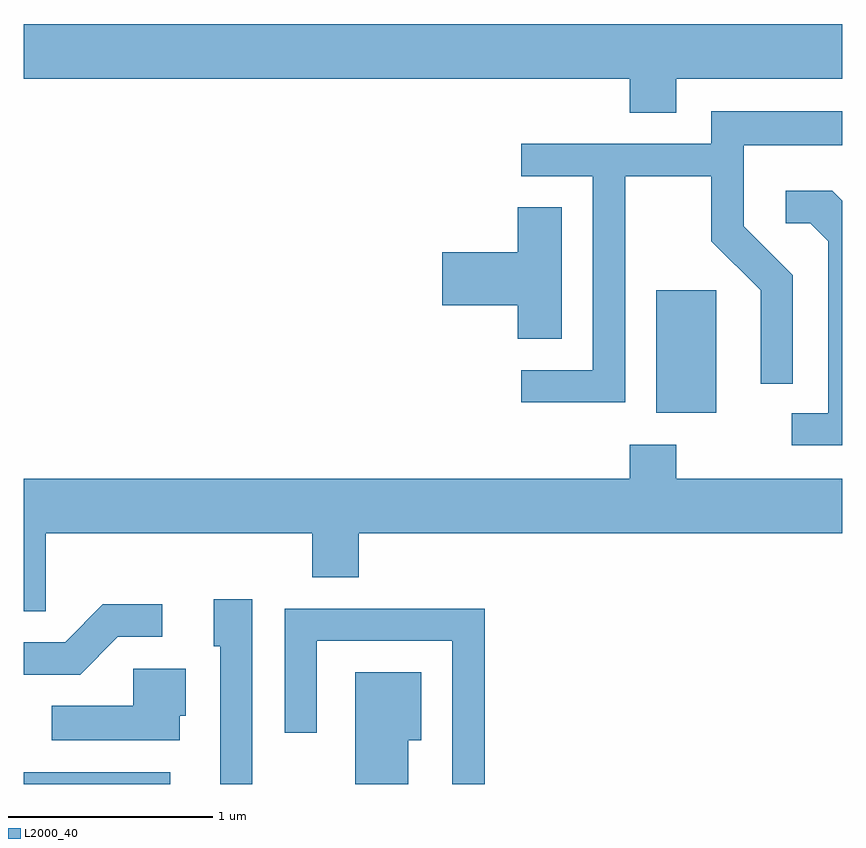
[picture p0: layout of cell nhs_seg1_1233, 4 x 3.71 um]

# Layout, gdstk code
import gdstk
lib = gdstk.Library(unit=1e-6, precision=1e-09)
def R(c, l, rs):  # rectangles x0, y0, x1, y1
    for r in rs: c.add(gdstk.rectangle(r[:2], r[2:], *l))
def P(c, l, *ps):  # polygons
    for p in ps: c.add(gdstk.Polygon(p, *l))
L2000_40 = (2000, 40)

nhs_seg1_1233 = lib.new_cell('nhs_seg1_1233')
R(nhs_seg1_1233, L2000_40, [(223.611,871.712,224.328,871.769), (226.701,873.526,226.994,874.124)])
P(nhs_seg1_1233, L2000_40, [(226.799,875.156),(227.611,875.156),(227.611,875.424),(223.611,875.424),(223.611,875.156),(226.571,875.156),(226.571,874.991),(226.799,874.991)],
  [(226.549,874.681),(226.971,874.681),(226.971,874.364),(227.211,874.124),(227.211,873.668),(227.369,873.668),(227.369,874.197),(227.129,874.437),(227.129,874.831),(227.611,874.831),(227.611,874.999),(226.971,874.999),(226.971,874.839),(226.043,874.839),(226.043,874.681),(226.391,874.681),(226.391,873.734),(226.043,873.734),(226.043,873.576),(226.549,873.576)],
  [(227.611,874.56),(227.562,874.609),(227.333,874.609),(227.333,874.451),(227.454,874.451),(227.541,874.364),(227.541,873.524),(227.363,873.524),(227.363,873.366),(227.611,873.366)],
  [(226.239,874.529),(226.026,874.529),(226.026,874.309),(225.656,874.309),(225.656,874.051),(226.026,874.051),(226.026,873.886),(226.239,873.886)],
  [(223.719,872.936),(225.021,872.936),(225.021,872.721),(225.249,872.721),(225.249,872.936),(227.611,872.936),(227.611,873.204),(226.799,873.204),(226.799,873.369),(226.571,873.369),(226.571,873.204),(223.611,873.204),(223.611,872.556),(223.719,872.556)],
  [(224.729,872.614),(224.541,872.614),(224.541,872.386),(224.571,872.386),(224.571,871.712),(224.729,871.712)],
  [(224.072,872.431),(224.288,872.431),(224.288,872.589),(223.999,872.589),(223.814,872.404),(223.611,872.404),(223.611,872.246),(223.887,872.246)],
  [(225.864,872.569),(224.886,872.569),(224.886,871.963),(225.044,871.963),(225.044,872.411),(225.706,872.411),(225.706,871.712),(225.864,871.712)],
  [(224.374,872.046),(224.404,872.046),(224.404,872.274),(224.146,872.274),(224.146,872.094),(223.748,872.094),(223.748,871.926),(224.374,871.926)],
  [(225.489,871.926),(225.554,871.926),(225.554,872.259),(225.231,872.259),(225.231,871.712),(225.489,871.712)])

lib.write_gds('nhs_seg1_1233.gds')
